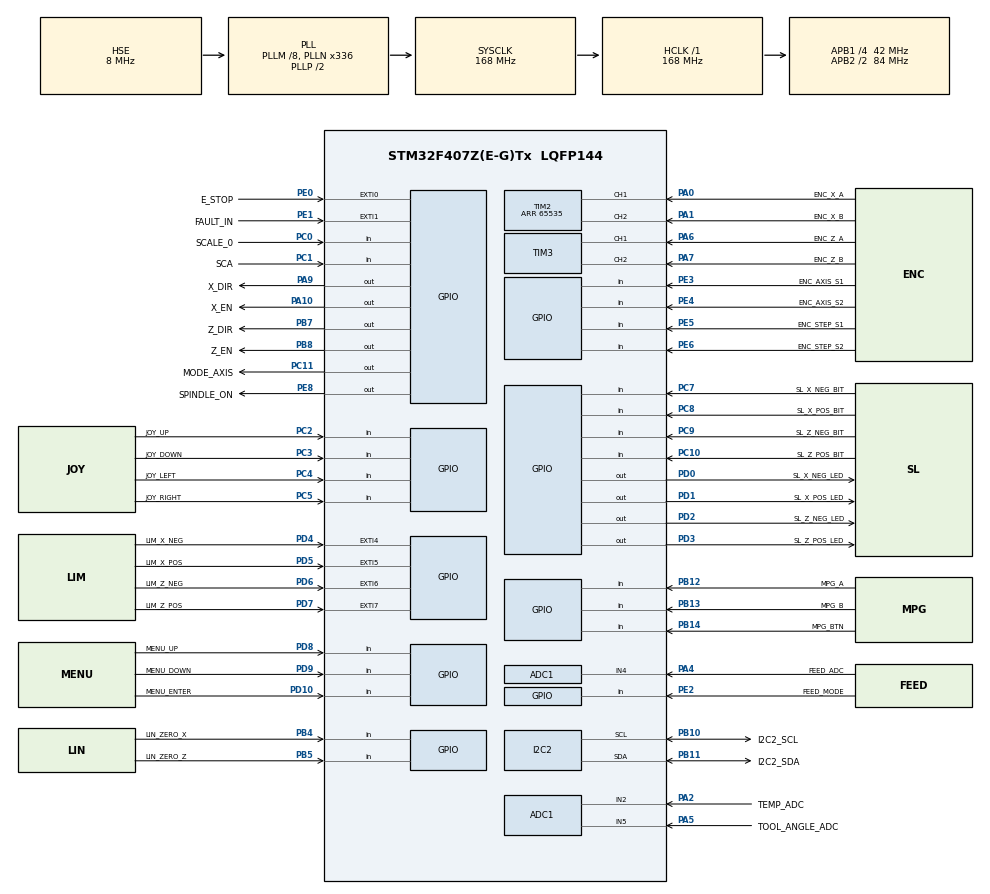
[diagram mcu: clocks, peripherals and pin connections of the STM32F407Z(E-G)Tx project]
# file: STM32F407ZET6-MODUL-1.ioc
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ADC1.Channel-0\#ChannelRegularConversion=ADC_CHANNEL_4
ADC1.NbrOfConversionFlag=1
ADC1.Rank-0\#ChannelRegularConversion=1
ADC1.SamplingTime-0\#ChannelRegularConversion=ADC_SAMPLETIME_3CYCLES
ADC1.master=1
Mcu.Family=STM32F4
Mcu.Name=STM32F407Z(E-G)Tx
Mcu.Package=LQFP144
NVIC.EXTI0_IRQn=true\:0\:0\:false\:false\:true\:true\:true\:true
NVIC.PriorityGroup=NVIC_PRIORITYGROUP_4
NVIC.RCC_IRQn=true\:0\:0\:false\:false\:true\:true\:false\:true
NVIC.TIM1_UP_TIM10_IRQn=true\:0\:0\:false\:false\:true\:true\:true\:true
PA0-WKUP.GPIO_Label=ENC_X_A
PA0-WKUP.Signal=S_TIM2_CH1_ETR
PA1.GPIO_Label=ENC_X_B
PA1.Signal=S_TIM2_CH2
PA10.GPIO_Label=X_EN
PA10.Signal=GPIO_Output
PA13.Mode=Serial_Wire
PA13.Signal=SYS_JTMS-SWDIO
PA14.Mode=Serial_Wire
PA14.Signal=SYS_JTCK-SWCLK
PA2.GPIO_Label=TEMP_ADC
PA2.Signal=ADCx_IN2
PA3.GPIO_Label=SPINDLE_PWM
PA3.Signal=S_TIM5_CH4
PA4.GPIO_Label=FEED_ADC
PA4.Signal=ADCx_IN4
PA5.GPIO_Label=TOOL_ANGLE_ADC
PA5.Signal=ADCx_IN5
PA6.GPIO_Label=ENC_Z_A
PA6.Signal=S_TIM3_CH1
PA7.GPIO_Label=ENC_Z_B
PA7.Signal=S_TIM3_CH2
PA8.GPIO_Label=X_STEP
PA8.GPIO_Speed=GPIO_SPEED_FREQ_MEDIUM
PA8.Signal=S_TIM1_CH1
PA9.GPIO_Label=X_DIR
PA9.Signal=GPIO_Output
PB10.GPIO_Label=I2C2_SCL
PB10.Mode=I2C
PB10.Signal=I2C2_SCL
PB11.GPIO_Label=I2C2_SDA
PB11.Mode=I2C
PB11.Signal=I2C2_SDA
PB12.GPIO_Label=MPG_A
PB12.GPIO_PuPd=GPIO_PULLUP
PB12.Signal=GPIO_Input
PB13.GPIO_Label=MPG_B
PB13.GPIO_PuPd=GPIO_PULLUP
PB13.Signal=GPIO_Input
PB14.GPIO_Label=MPG_BTN
PB14.GPIO_PuPd=GPIO_PULLUP
PB14.Signal=GPIO_Input
PB4.GPIO_Label=LIN_ZERO_X
PB4.GPIO_PuPd=GPIO_PULLUP
PB4.Signal=GPIO_Input
PB5.GPIO_Label=LIN_ZERO_Z
PB5.GPIO_PuPd=GPIO_PULLUP
PB5.Signal=GPIO_Input
PB6.GPIO_Label=z_STEP
PB6.Signal=S_TIM4_CH1
PB7.GPIO_Label=Z_DIR
PB7.Signal=GPIO_Output
PB8.GPIO_Label=Z_EN
PB8.Signal=GPIO_Output
PC0.GPIO_Label=SCALE_0
PC0.Signal=GPIO_Input
PC1.GPIO_Label=SCA
PC1.Signal=GPIO_Input
PC10.GPIO_Label=SL_Z_POS_BIT
PC10.Signal=GPIO_Input
PC11.GPIO_Label=MODE_AXIS
PC11.Signal=GPIO_Output
PC2.GPIO_Label=JOY_UP
PC2.GPIO_PuPd=GPIO_PULLUP
PC2.Signal=GPIO_Input
PC3.GPIO_Label=JOY_DOWN
PC3.GPIO_PuPd=GPIO_PULLUP
PC3.Signal=GPIO_Input
PC4.GPIO_Label=JOY_LEFT
PC4.GPIO_PuPd=GPIO_PULLUP
PC4.Signal=GPIO_Input
PC5.GPIO_Label=JOY_RIGHT
PC5.GPIO_PuPd=GPIO_PULLUP
PC5.Signal=GPIO_Input
PC7.GPIO_Label=SL_X_NEG_BIT
PC7.Signal=GPIO_Input
PC8.GPIO_Label=SL_X_POS_BIT
PC8.Signal=GPIO_Input
PC9.GPIO_Label=SL_Z_NEG_BIT
PC9.Signal=GPIO_Input
PD0.GPIO_Label=SL_X_NEG_LED
PD0.Signal=GPIO_Output
PD1.GPIO_Label=SL_X_POS_LED
PD1.Signal=GPIO_Output
PD10.GPIO_Label=MENU_ENTER
PD10.GPIO_PuPd=GPIO_PULLUP
PD10.Signal=GPIO_Input
PD2.GPIO_Label=SL_Z_NEG_LED
PD2.Signal=GPIO_Output
PD3.GPIO_Label=SL_Z_POS_LED
PD3.Signal=GPIO_Output
PD4.GPIO_Label=LIM_X_NEG
PD4.GPIO_PuPd=GPIO_PULLUP
PD4.Signal=GPXTI4
PD5.GPIO_Label=LIM_X_POS
PD5.GPIO_PuPd=GPIO_PULLUP
PD5.Signal=GPXTI5
PD6.GPIO_Label=LIM_Z_NEG
PD6.GPIO_PuPd=GPIO_PULLUP
PD6.Signal=GPXTI6
PD7.GPIO_Label=LIM_Z_POS
PD7.GPIO_PuPd=GPIO_PULLUP
PD7.Signal=GPXTI7
PD8.GPIO_Label=MENU_UP
PD8.GPIO_PuPd=GPIO_PULLUP
PD8.Signal=GPIO_Input
PD9.GPIO_Label=MENU_DOWN
PD9.GPIO_PuPd=GPIO_PULLUP
PD9.Signal=GPIO_Input
PE0.GPIO_Label=E_STOP
PE0.Signal=GPXTI0
PE1.GPIO_Label=FAULT_IN
PE1.Signal=GPXTI1
PE2.GPIO_Label=FEED_MODE
PE2.GPIO_PuPd=GPIO_PULLUP
PE2.Signal=GPIO_Input
PE3.GPIO_Label=ENC_AXIS_S1
PE3.GPIO_PuPd=GPIO_PULLUP
PE3.Signal=GPIO_Input
PE4.GPIO_Label=ENC_AXIS_S2
PE4.GPIO_PuPd=GPIO_PULLUP
PE4.Signal=GPIO_Input
PE5.GPIO_Label=ENC_STEP_S1
PE5.GPIO_PuPd=GPIO_PULLUP
PE5.Signal=GPIO_Input
PE6.GPIO_Label=ENC_STEP_S2
PE6.GPIO_PuPd=GPIO_PULLUP
PE6.Signal=GPIO_Input
PE8.GPIO_Label=SPINDLE_ON
PE8.Signal=GPIO_Output
PH0-OSC_IN.Mode=HSE-External-Oscillator
PH0-OSC_IN.Signal=RCC_OSC_IN
PH1-OSC_OUT.Mode=HSE-External-Oscillator
PH1-OSC_OUT.Signal=RCC_OSC_OUT
ProjectManager.HeapSize=0x200
ProjectManager.StackSize=0x400
ProjectManager.TargetToolchain=STM32CubeIDE
RCC.48MHZClocksFreq_Value=84000000
RCC.AHBFreq_Value=168000000
RCC.APB1CLKDivider=RCC_HCLK_DIV4
RCC.APB1Freq_Value=42000000
RCC.APB1TimFreq_Value=84000000
RCC.APB2CLKDivider=RCC_HCLK_DIV2
RCC.APB2Freq_Value=84000000
RCC.APB2TimFreq_Value=168000000
RCC.CortexFreq_Value=168000000
RCC.HCLKFreq_Value=168000000
RCC.HSE_VALUE=8000000
RCC.HSI_VALUE=16000000
RCC.LSE_VALUE=32768
RCC.PLLM=8
RCC.PLLN=336
RCC.PLLSourceVirtual=RCC_PLLSOURCE_HSE
RCC.PWR_Regulator_Voltage_Scale=PWR_REGULATOR_VOLTAGE_SCALE1
RCC.SYSCLKFreq_VALUE=168000000
RCC.SYSCLKSource=RCC_SYSCLKSOURCE_PLLCLK
RCC.VCOOutputFreq_Value=336000000
RCC.VDD_VALUE=3.6
SH.ADCx_IN2.0=ADC1_IN2,IN2
SH.ADCx_IN4.0=ADC1_IN4,IN4
SH.ADCx_IN5.0=ADC1_IN5,IN5
SH.S_TIM1_CH1.0=TIM1_CH1
SH.S_TIM2_CH1_ETR.0=TIM2_CH1,Encoder_Interface
SH.S_TIM2_CH2.0=TIM2_CH2,Encoder_Interface
SH.S_TIM3_CH1.0=TIM3_CH1,Encoder_Interface
SH.S_TIM3_CH2.0=TIM3_CH2,Encoder_Interface
SH.S_TIM4_CH1.0=TIM4_CH1
SH.S_TIM5_CH4.0=TIM5_CH4
TIM2.Period=65535
VP_TIM1_VS_ClockSourceINT.Mode=Internal
board=custom

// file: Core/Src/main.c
/* USER CODE BEGIN Header */
/**
  ******************************************************************************
  * @file           : main.c
  * @brief          : Main program body
  ******************************************************************************
  * @attention
  *
  * Copyright (c) 2026 STMicroelectronics.
  * All rights reserved.
  *
  * This software is licensed under terms that can be found in the LICENSE file
  * in the root directory of this software component.
  * If no LICENSE file comes with this software, it is provided AS-IS.
  *
  ******************************************************************************
  */
/* USER CODE END Header */
#include "main.h"

/* USER CODE BEGIN Includes */
#include "app.h"
/* USER CODE END Includes */

ADC_HandleTypeDef hadc1;

I2C_HandleTypeDef hi2c2;

TIM_HandleTypeDef htim1;
TIM_HandleTypeDef htim2;
TIM_HandleTypeDef htim3;

void SystemClock_Config(void);
static void MX_GPIO_Init(void);
static void MX_ADC1_Init(void);
static void MX_TIM1_Init(void);
static void MX_I2C2_Init(void);
static void MX_TIM2_Init(void);
static void MX_TIM3_Init(void);

int main(void)
{

  /* MCU Configuration--------------------------------------------------------*/

  /* Reset of all peripherals, Initializes the Flash interface and the Systick. */
  HAL_Init();

  /* Configure the system clock */
  SystemClock_Config();

  /* Initialize all configured peripherals */
  MX_GPIO_Init();
  MX_ADC1_Init();
  MX_TIM1_Init();
  MX_I2C2_Init();
  MX_TIM2_Init();
  MX_TIM3_Init();
  /* USER CODE BEGIN 2 */
  app_init();
  (void)HAL_TIM_Encoder_Start(&htim2, TIM_CHANNEL_ALL);
  (void)HAL_TIM_Encoder_Start(&htim3, TIM_CHANNEL_ALL);

  /* TIM6: 1 ms tick for enc_if (+ jog in bringup). */
  __HAL_RCC_TIM6_CLK_ENABLE();
  TIM6->PSC = 83;   /* 84 MHz / (83+1) = 1 MHz */
  TIM6->ARR = 999;  /* 1 MHz / (999+1) = 1 kHz */
  TIM6->CR1 = 0;
  TIM6->EGR = TIM_EGR_UG;
  TIM6->SR = 0;
  TIM6->DIER = TIM_DIER_UIE;
  HAL_NVIC_SetPriority(TIM6_DAC_IRQn, 2, 0);
  HAL_NVIC_EnableIRQ(TIM6_DAC_IRQn);
  TIM6->CR1 = TIM_CR1_CEN;
  /* USER CODE END 2 */

  /* Infinite loop */
  while (1)
  {

    /* USER CODE BEGIN 3 */
    app_loop();
  }
  /* USER CODE END 3 */
}

void SystemClock_Config(void)
{
  RCC_OscInitTypeDef RCC_OscInitStruct = {0};
  RCC_ClkInitTypeDef RCC_ClkInitStruct = {0};

  /** Configure the main internal regulator output voltage
  */
  __HAL_RCC_PWR_CLK_ENABLE();
  __HAL_PWR_VOLTAGESCALING_CONFIG(PWR_REGULATOR_VOLTAGE_SCALE1);

  /** Initializes the RCC Oscillators according to the specified parameters
  * in the RCC_OscInitTypeDef structure.
  */
  RCC_OscInitStruct.OscillatorType = RCC_OSCILLATORTYPE_HSE;
  RCC_OscInitStruct.HSEState = RCC_HSE_ON;
  RCC_OscInitStruct.PLL.PLLState = RCC_PLL_ON;
  RCC_OscInitStruct.PLL.PLLSource = RCC_PLLSOURCE_HSE;
  RCC_OscInitStruct.PLL.PLLM = 8;
  RCC_OscInitStruct.PLL.PLLN = 336;
  RCC_OscInitStruct.PLL.PLLP = RCC_PLLP_DIV2;
  RCC_OscInitStruct.PLL.PLLQ = 4;
  if (HAL_RCC_OscConfig(&RCC_OscInitStruct) != HAL_OK)
  {
    Error_Handler();
  }

  /** Initializes the CPU, AHB and APB buses clocks
  */
  RCC_ClkInitStruct.ClockType = RCC_CLOCKTYPE_HCLK|RCC_CLOCKTYPE_SYSCLK
                              |RCC_CLOCKTYPE_PCLK1|RCC_CLOCKTYPE_PCLK2;
  RCC_ClkInitStruct.SYSCLKSource = RCC_SYSCLKSOURCE_PLLCLK;
  RCC_ClkInitStruct.AHBCLKDivider = RCC_SYSCLK_DIV1;
  RCC_ClkInitStruct.APB1CLKDivider = RCC_HCLK_DIV4;
  RCC_ClkInitStruct.APB2CLKDivider = RCC_HCLK_DIV2;

  if (HAL_RCC_ClockConfig(&RCC_ClkInitStruct, FLASH_LATENCY_5) != HAL_OK)
  {
    Error_Handler();
  }
}

static void MX_ADC1_Init(void)
{

  ADC_ChannelConfTypeDef sConfig = {0};

  /** Configure the global features of the ADC (Clock, Resolution, Data Alignment and number of conversion)
  */
  hadc1.Instance = ADC1;
  hadc1.Init.ClockPrescaler = ADC_CLOCK_SYNC_PCLK_DIV4;
  hadc1.Init.Resolution = ADC_RESOLUTION_12B;
  hadc1.Init.ScanConvMode = DISABLE;
  hadc1.Init.ContinuousConvMode = DISABLE;
  hadc1.Init.DiscontinuousConvMode = DISABLE;
  hadc1.Init.ExternalTrigConvEdge = ADC_EXTERNALTRIGCONVEDGE_NONE;
  hadc1.Init.ExternalTrigConv = ADC_SOFTWARE_START;
  hadc1.Init.DataAlign = ADC_DATAALIGN_RIGHT;
  hadc1.Init.NbrOfConversion = 1;
  hadc1.Init.DMAContinuousRequests = DISABLE;
  hadc1.Init.EOCSelection = ADC_EOC_SINGLE_CONV;
  if (HAL_ADC_Init(&hadc1) != HAL_OK)
  {
    Error_Handler();
  }

  /** Configure for the selected ADC regular channel its corresponding rank in the sequencer and its sample time.
  */
  sConfig.Channel = ADC_CHANNEL_4;
  sConfig.Rank = 1;
  sConfig.SamplingTime = ADC_SAMPLETIME_3CYCLES;
  if (HAL_ADC_ConfigChannel(&hadc1, &sConfig) != HAL_OK)
  {
    Error_Handler();
  }

}

static void MX_I2C2_Init(void)
{

  hi2c2.Instance = I2C2;
  hi2c2.Init.ClockSpeed = 100000;
  hi2c2.Init.DutyCycle = I2C_DUTYCYCLE_2;
  hi2c2.Init.OwnAddress1 = 0;
  hi2c2.Init.AddressingMode = I2C_ADDRESSINGMODE_7BIT;
  hi2c2.Init.DualAddressMode = I2C_DUALADDRESS_DISABLE;
  hi2c2.Init.OwnAddress2 = 0;
  hi2c2.Init.GeneralCallMode = I2C_GENERALCALL_DISABLE;
  hi2c2.Init.NoStretchMode = I2C_NOSTRETCH_DISABLE;
  if (HAL_I2C_Init(&hi2c2) != HAL_OK)
  {
    Error_Handler();
  }

}

static void MX_TIM1_Init(void)
{

  TIM_ClockConfigTypeDef sClockSourceConfig = {0};
  TIM_MasterConfigTypeDef sMasterConfig = {0};

  htim1.Instance = TIM1;
  htim1.Init.Prescaler = 0;
  htim1.Init.CounterMode = TIM_COUNTERMODE_UP;
  htim1.Init.Period = 65535;
  htim1.Init.ClockDivision = TIM_CLOCKDIVISION_DIV1;
  htim1.Init.RepetitionCounter = 0;
  htim1.Init.AutoReloadPreload = TIM_AUTORELOAD_PRELOAD_DISABLE;
  if (HAL_TIM_Base_Init(&htim1) != HAL_OK)
  {
    Error_Handler();
  }
  sClockSourceConfig.ClockSource = TIM_CLOCKSOURCE_INTERNAL;
  if (HAL_TIM_ConfigClockSource(&htim1, &sClockSourceConfig) != HAL_OK)
  {
    Error_Handler();
  }
  sMasterConfig.MasterOutputTrigger = TIM_TRGO_RESET;
  sMasterConfig.MasterSlaveMode = TIM_MASTERSLAVEMODE_DISABLE;
  if (HAL_TIMEx_MasterConfigSynchronization(&htim1, &sMasterConfig) != HAL_OK)
  {
    Error_Handler();
  }

}

static void MX_TIM2_Init(void)
{

  TIM_Encoder_InitTypeDef sConfig = {0};
  TIM_MasterConfigTypeDef sMasterConfig = {0};

  htim2.Instance = TIM2;
  htim2.Init.Prescaler = 0;
  htim2.Init.CounterMode = TIM_COUNTERMODE_UP;
  htim2.Init.Period = 65535;
  htim2.Init.ClockDivision = TIM_CLOCKDIVISION_DIV1;
  htim2.Init.AutoReloadPreload = TIM_AUTORELOAD_PRELOAD_DISABLE;
  sConfig.EncoderMode = TIM_ENCODERMODE_TI1;
  sConfig.IC1Polarity = TIM_ICPOLARITY_RISING;
  sConfig.IC1Selection = TIM_ICSELECTION_DIRECTTI;
  sConfig.IC1Prescaler = TIM_ICPSC_DIV1;
  sConfig.IC1Filter = 0;
  sConfig.IC2Polarity = TIM_ICPOLARITY_RISING;
  sConfig.IC2Selection = TIM_ICSELECTION_DIRECTTI;
  sConfig.IC2Prescaler = TIM_ICPSC_DIV1;
  sConfig.IC2Filter = 0;
  if (HAL_TIM_Encoder_Init(&htim2, &sConfig) != HAL_OK)
  {
    Error_Handler();
  }
  sMasterConfig.MasterOutputTrigger = TIM_TRGO_RESET;
  sMasterConfig.MasterSlaveMode = TIM_MASTERSLAVEMODE_DISABLE;
  if (HAL_TIMEx_MasterConfigSynchronization(&htim2, &sMasterConfig) != HAL_OK)
  {
    Error_Handler();
  }

}

static void MX_TIM3_Init(void)
{

  TIM_Encoder_InitTypeDef sConfig = {0};
  TIM_MasterConfigTypeDef sMasterConfig = {0};

  htim3.Instance = TIM3;
  htim3.Init.Prescaler = 0;
  htim3.Init.CounterMode = TIM_COUNTERMODE_UP;
  htim3.Init.Period = 65535;
  htim3.Init.ClockDivision = TIM_CLOCKDIVISION_DIV1;
  htim3.Init.AutoReloadPreload = TIM_AUTORELOAD_PRELOAD_DISABLE;
  sConfig.EncoderMode = TIM_ENCODERMODE_TI1;
  sConfig.IC1Polarity = TIM_ICPOLARITY_RISING;
  sConfig.IC1Selection = TIM_ICSELECTION_DIRECTTI;
  sConfig.IC1Prescaler = TIM_ICPSC_DIV1;
  sConfig.IC1Filter = 0;
  sConfig.IC2Polarity = TIM_ICPOLARITY_RISING;
  sConfig.IC2Selection = TIM_ICSELECTION_DIRECTTI;
  sConfig.IC2Prescaler = TIM_ICPSC_DIV1;
  sConfig.IC2Filter = 0;
  if (HAL_TIM_Encoder_Init(&htim3, &sConfig) != HAL_OK)
  {
    Error_Handler();
  }
  sMasterConfig.MasterOutputTrigger = TIM_TRGO_RESET;
  sMasterConfig.MasterSlaveMode = TIM_MASTERSLAVEMODE_DISABLE;
  if (HAL_TIMEx_MasterConfigSynchronization(&htim3, &sMasterConfig) != HAL_OK)
  {
    Error_Handler();
  }

}

static void MX_GPIO_Init(void)
{
  GPIO_InitTypeDef GPIO_InitStruct = {0};

  /* GPIO Ports Clock Enable */
  __HAL_RCC_GPIOE_CLK_ENABLE();
  __HAL_RCC_GPIOH_CLK_ENABLE();
  __HAL_RCC_GPIOC_CLK_ENABLE();
  __HAL_RCC_GPIOA_CLK_ENABLE();
  __HAL_RCC_GPIOB_CLK_ENABLE();
  __HAL_RCC_GPIOD_CLK_ENABLE();

  /*Configure GPIO pin Output Level */
  HAL_GPIO_WritePin(SPINDLE_ON_GPIO_Port, SPINDLE_ON_Pin, GPIO_PIN_RESET);

  /*Configure GPIO pin Output Level */
  HAL_GPIO_WritePin(GPIOA, X_DIR_Pin|X_EN_Pin, GPIO_PIN_RESET);

  /*Configure GPIO pin Output Level */
  HAL_GPIO_WritePin(MODE_AXIS_GPIO_Port, MODE_AXIS_Pin, GPIO_PIN_RESET);

  /*Configure GPIO pin Output Level */
  HAL_GPIO_WritePin(GPIOD, SL_X_NEG_LED_Pin|SL_X_POS_LED_Pin|SL_Z_NEG_LED_Pin|SL_Z_POS_LED_Pin, GPIO_PIN_RESET);

  /*Configure GPIO pin Output Level */
  HAL_GPIO_WritePin(GPIOB, Z_DIR_Pin|Z_EN_Pin, GPIO_PIN_RESET);

  /*Configure GPIO pins : FEED_MODE_Pin ENC_AXIS_S1_Pin ENC_AXIS_S2_Pin ENC_STEP_S1_Pin
                           ENC_STEP_S2_Pin */
  GPIO_InitStruct.Pin = FEED_MODE_Pin|ENC_AXIS_S1_Pin|ENC_AXIS_S2_Pin|ENC_STEP_S1_Pin
                          |ENC_STEP_S2_Pin;
  GPIO_InitStruct.Mode = GPIO_MODE_INPUT;
  GPIO_InitStruct.Pull = GPIO_PULLUP;
  HAL_GPIO_Init(GPIOE, &GPIO_InitStruct);

  /*Configure GPIO pins : SCALE_0_Pin SCA_Pin SL_X_NEG_BIT_Pin SL_X_POS_BIT_Pin
                           SL_Z_NEG_BIT_Pin SL_Z_POS_BIT_Pin */
  GPIO_InitStruct.Pin = SCALE_0_Pin|SCA_Pin|SL_X_NEG_BIT_Pin|SL_X_POS_BIT_Pin
                          |SL_Z_NEG_BIT_Pin|SL_Z_POS_BIT_Pin;
  GPIO_InitStruct.Mode = GPIO_MODE_INPUT;
  GPIO_InitStruct.Pull = GPIO_NOPULL;
  HAL_GPIO_Init(GPIOC, &GPIO_InitStruct);

  /*Configure GPIO pins : JOY_UP_Pin JOY_DOWN_Pin JOY_LEFT_Pin JOY_RIGHT_Pin */
  GPIO_InitStruct.Pin = JOY_UP_Pin|JOY_DOWN_Pin|JOY_LEFT_Pin|JOY_RIGHT_Pin;
  GPIO_InitStruct.Mode = GPIO_MODE_INPUT;
  GPIO_InitStruct.Pull = GPIO_PULLUP;
  HAL_GPIO_Init(GPIOC, &GPIO_InitStruct);

  /*Configure GPIO pin : SPINDLE_PWM_Pin */
  GPIO_InitStruct.Pin = SPINDLE_PWM_Pin;
  GPIO_InitStruct.Mode = GPIO_MODE_AF_PP;
  GPIO_InitStruct.Pull = GPIO_NOPULL;
  GPIO_InitStruct.Speed = GPIO_SPEED_FREQ_LOW;
  GPIO_InitStruct.Alternate = GPIO_AF2_TIM5;
  HAL_GPIO_Init(SPINDLE_PWM_GPIO_Port, &GPIO_InitStruct);

  /*Configure GPIO pin : SPINDLE_ON_Pin */
  GPIO_InitStruct.Pin = SPINDLE_ON_Pin;
  GPIO_InitStruct.Mode = GPIO_MODE_OUTPUT_PP;
  GPIO_InitStruct.Pull = GPIO_NOPULL;
  GPIO_InitStruct.Speed = GPIO_SPEED_FREQ_LOW;
  HAL_GPIO_Init(SPINDLE_ON_GPIO_Port, &GPIO_InitStruct);

  /*Configure GPIO pins : MPG_A_Pin MPG_B_Pin MPG_BTN_Pin LIN_ZERO_X_Pin
                           LIN_ZERO_Z_Pin */
  GPIO_InitStruct.Pin = MPG_A_Pin|MPG_B_Pin|MPG_BTN_Pin|LIN_ZERO_X_Pin
                          |LIN_ZERO_Z_Pin;
  GPIO_InitStruct.Mode = GPIO_MODE_INPUT;
  GPIO_InitStruct.Pull = GPIO_PULLUP;
  HAL_GPIO_Init(GPIOB, &GPIO_InitStruct);

  /*Configure GPIO pins : MENU_UP_Pin MENU_DOWN_Pin MENU_ENTER_Pin */
  GPIO_InitStruct.Pin = MENU_UP_Pin|MENU_DOWN_Pin|MENU_ENTER_Pin;
  GPIO_InitStruct.Mode = GPIO_MODE_INPUT;
  GPIO_InitStruct.Pull = GPIO_PULLUP;
  HAL_GPIO_Init(GPIOD, &GPIO_InitStruct);

  /*Configure GPIO pins : X_DIR_Pin X_EN_Pin */
  GPIO_InitStruct.Pin = X_DIR_Pin|X_EN_Pin;
  GPIO_InitStruct.Mode = GPIO_MODE_OUTPUT_PP;
  GPIO_InitStruct.Pull = GPIO_NOPULL;
  GPIO_InitStruct.Speed = GPIO_SPEED_FREQ_LOW;
  HAL_GPIO_Init(GPIOA, &GPIO_InitStruct);

  /*Configure GPIO pin : MODE_AXIS_Pin */
  GPIO_InitStruct.Pin = MODE_AXIS_Pin;
  GPIO_InitStruct.Mode = GPIO_MODE_OUTPUT_PP;
  GPIO_InitStruct.Pull = GPIO_NOPULL;
  GPIO_InitStruct.Speed = GPIO_SPEED_FREQ_LOW;
  HAL_GPIO_Init(MODE_AXIS_GPIO_Port, &GPIO_InitStruct);

  /*Configure GPIO pins : SL_X_NEG_LED_Pin SL_X_POS_LED_Pin SL_Z_NEG_LED_Pin SL_Z_POS_LED_Pin */
  GPIO_InitStruct.Pin = SL_X_NEG_LED_Pin|SL_X_POS_LED_Pin|SL_Z_NEG_LED_Pin|SL_Z_POS_LED_Pin;
  GPIO_InitStruct.Mode = GPIO_MODE_OUTPUT_PP;
  GPIO_InitStruct.Pull = GPIO_NOPULL;
  GPIO_InitStruct.Speed = GPIO_SPEED_FREQ_LOW;
  HAL_GPIO_Init(GPIOD, &GPIO_InitStruct);

  /*Configure GPIO pins : LIM_X_NEG_Pin LIM_X_POS_Pin LIM_Z_NEG_Pin LIM_Z_POS_Pin */
  GPIO_InitStruct.Pin = LIM_X_NEG_Pin|LIM_X_POS_Pin|LIM_Z_NEG_Pin|LIM_Z_POS_Pin;
  GPIO_InitStruct.Mode = GPIO_MODE_IT_RISING;
  GPIO_InitStruct.Pull = GPIO_PULLUP;
  HAL_GPIO_Init(GPIOD, &GPIO_InitStruct);

  /*Configure GPIO pin : z_STEP_Pin */
  GPIO_InitStruct.Pin = z_STEP_Pin;
  GPIO_InitStruct.Mode = GPIO_MODE_AF_PP;
  GPIO_InitStruct.Pull = GPIO_NOPULL;
  GPIO_InitStruct.Speed = GPIO_SPEED_FREQ_LOW;
  GPIO_InitStruct.Alternate = GPIO_AF2_TIM4;
  HAL_GPIO_Init(z_STEP_GPIO_Port, &GPIO_InitStruct);

  /*Configure GPIO pins : Z_DIR_Pin Z_EN_Pin */
  GPIO_InitStruct.Pin = Z_DIR_Pin|Z_EN_Pin;
  GPIO_InitStruct.Mode = GPIO_MODE_OUTPUT_PP;
  GPIO_InitStruct.Pull = GPIO_NOPULL;
  GPIO_InitStruct.Speed = GPIO_SPEED_FREQ_LOW;
  HAL_GPIO_Init(GPIOB, &GPIO_InitStruct);

  /*Configure GPIO pins : E_STOP_Pin FAULT_IN_Pin */
  GPIO_InitStruct.Pin = E_STOP_Pin|FAULT_IN_Pin;
  GPIO_InitStruct.Mode = GPIO_MODE_IT_RISING;
  GPIO_InitStruct.Pull = GPIO_NOPULL;
  HAL_GPIO_Init(GPIOE, &GPIO_InitStruct);

  /* EXTI interrupt init*/
  HAL_NVIC_SetPriority(EXTI0_IRQn, 0, 0);
  HAL_NVIC_EnableIRQ(EXTI0_IRQn);

  HAL_NVIC_SetPriority(EXTI1_IRQn, 1, 0);
  HAL_NVIC_EnableIRQ(EXTI1_IRQn);

  HAL_NVIC_SetPriority(EXTI4_IRQn, 1, 0);
  HAL_NVIC_EnableIRQ(EXTI4_IRQn);

  HAL_NVIC_SetPriority(EXTI9_5_IRQn, 1, 0);
  HAL_NVIC_EnableIRQ(EXTI9_5_IRQn);

}

void Error_Handler(void)
{
  __disable_irq();
  while (1)
  {
  }
}
